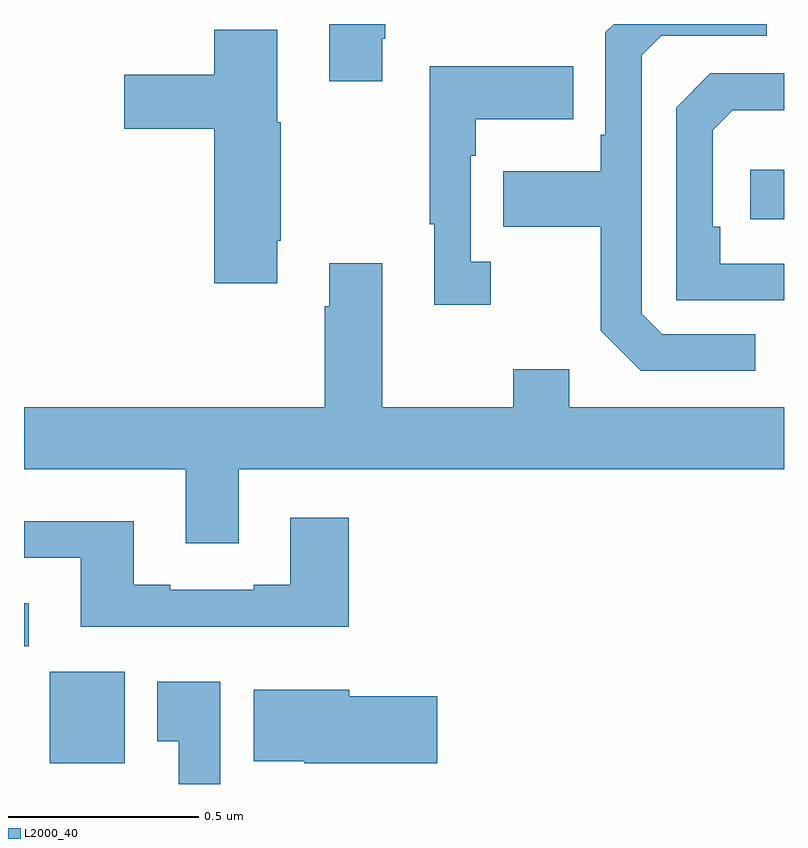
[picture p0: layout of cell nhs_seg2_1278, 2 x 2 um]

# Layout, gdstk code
import gdstk
lib = gdstk.Library(unit=1e-6, precision=1e-09)
def R(c, l, rs):  # rectangles x0, y0, x1, y1
    for r in rs: c.add(gdstk.rectangle(r[:2], r[2:], *l))
def P(c, l, *ps):  # polygons
    for p in ps: c.add(gdstk.Polygon(p, *l))
L2000_40 = (2000, 40)

nhs_seg2_1278 = lib.new_cell('nhs_seg2_1278')
R(nhs_seg2_1278, L2000_40, [(126.068,654.854,126.265,655.096), (126,655.163,126.013,655.276), (127.911,656.286,128,656.416)])
P(nhs_seg2_1278, L2000_40, [(127.924,655.983),(127.68,655.983),(127.626,656.037),(127.626,656.718),(127.677,656.769),(127.954,656.769),(127.954,656.8),(127.552,656.8),(127.53,656.778),(127.53,656.509),(127.518,656.509),(127.518,656.413),(127.261,656.413),(127.261,656.266),(127.518,656.266),(127.518,655.993),(127.623,655.887),(127.924,655.887)],
  [(126.943,656.761),(126.951,656.761),(126.951,656.8),(126.803,656.8),(126.803,656.649),(126.943,656.649)],
  [(126.667,656.23),(126.675,656.23),(126.675,656.541),(126.667,656.541),(126.667,656.785),(126.5,656.785),(126.5,656.667),(126.264,656.667),(126.264,656.525),(126.5,656.525),(126.5,656.118),(126.667,656.118)],
  [(127.228,656.174),(127.176,656.174),(127.176,656.453),(127.189,656.453),(127.189,656.549),(127.445,656.549),(127.445,656.689),(127.068,656.689),(127.068,656.273),(127.079,656.273),(127.079,656.061),(127.228,656.061)],
  [(128,656.169),(127.832,656.169),(127.832,656.266),(127.812,656.266),(127.812,656.52),(127.865,656.573),(128,656.573),(128,656.67),(127.806,656.67),(127.716,656.58),(127.716,656.073),(128,656.073)],
  [(126.565,655.628),(128,655.628),(128,655.792),(127.435,655.792),(127.435,655.891),(127.288,655.891),(127.288,655.792),(126.943,655.792),(126.943,656.17),(126.803,656.17),(126.803,656.057),(126.791,656.057),(126.791,655.792),(126,655.792),(126,655.628),(126.425,655.628),(126.425,655.434),(126.565,655.434)],
  [(126.854,655.501),(126.701,655.501),(126.701,655.324),(126.605,655.324),(126.605,655.311),(126.385,655.311),(126.385,655.324),(126.289,655.324),(126.289,655.492),(126,655.492),(126,655.395),(126.149,655.395),(126.149,655.214),(126.854,655.214)],
  [(126.517,655.069),(126.35,655.069),(126.35,654.913),(126.407,654.913),(126.407,654.8),(126.517,654.8)],
  [(127.087,655.031),(126.856,655.031),(126.856,655.048),(126.605,655.048),(126.605,654.86),(126.738,654.86),(126.738,654.854),(127.087,654.854)])

lib.write_gds('nhs_seg2_1278.gds')
